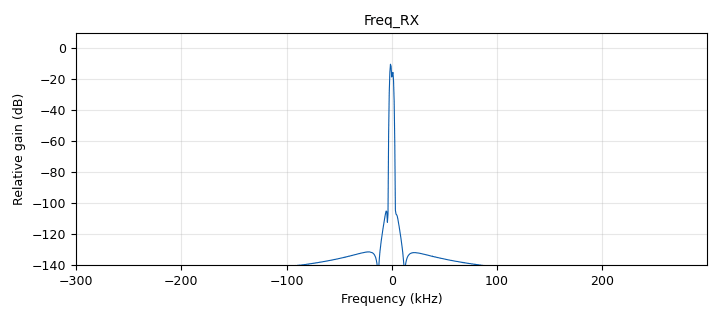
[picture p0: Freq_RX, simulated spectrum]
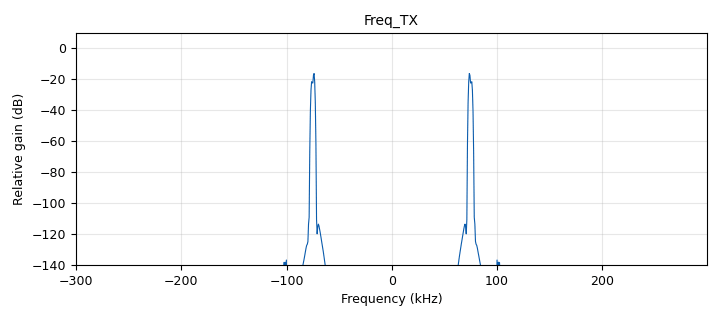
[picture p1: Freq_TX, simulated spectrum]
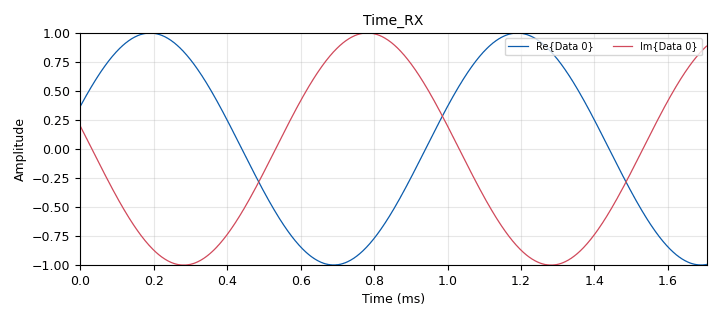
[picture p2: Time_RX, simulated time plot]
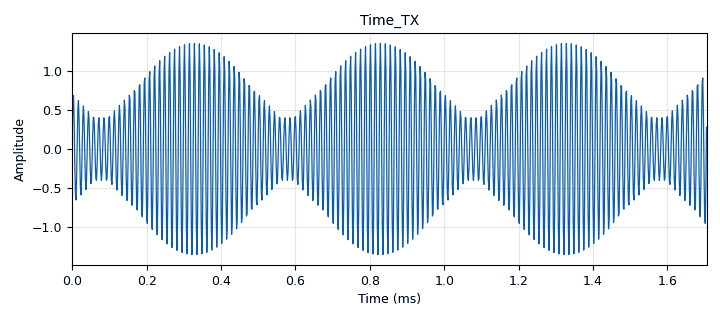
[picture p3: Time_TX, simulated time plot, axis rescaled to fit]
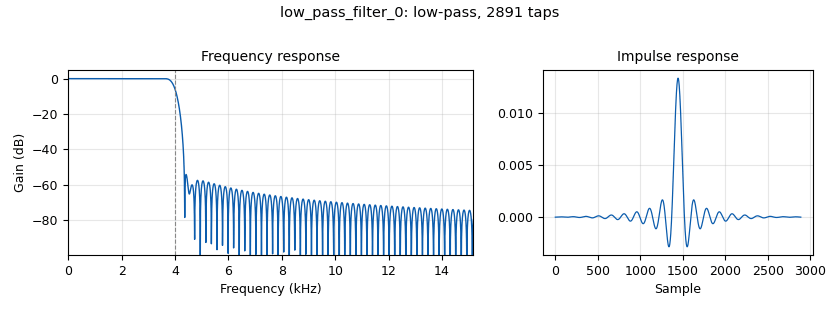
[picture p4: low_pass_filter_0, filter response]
<?xml version='1.0' encoding='utf-8'?>
<?grc format='1' created='3.7.9'?>
<flow_graph>
<block>
<key>options</key>
<param><key>id</key><value>top_block</value></param>
<param><key>category</key><value>Custom</value></param>
<param><key>generate_options</key><value>qt_gui</value></param>
</block>
<block>
<key>variable</key>
<param><key>id</key><value>fc</value></param>
<param><key>value</key><value>750000000</value></param>
</block>
<block>
<key>variable</key>
<param><key>id</key><value>fm</value></param>
<param><key>value</key><value>1000</value></param>
</block>
<block>
<key>variable</key>
<param><key>id</key><value>ft</value></param>
<param><key>value</key><value>75E3</value></param>
</block>
<block>
<key>variable_qtgui_range</key>
<param><key>id</key><value>gain</value></param>
<param><key>value</key><value>0</value></param>
<param><key>gui_hint</key><value>4,0,1,1</value></param>
<param><key>orient</key><value>Qt.Horizontal</value></param>
<param><key>start</key><value>0</value></param>
<param><key>step</key><value>1</value></param>
<param><key>stop</key><value>30</value></param>
</block>
<block>
<key>variable</key>
<param><key>id</key><value>samp_rate</value></param>
<param><key>value</key><value>600E3</value></param>
</block>
<block>
<key>qtgui_freq_sink_x</key>
<param><key>id</key><value>Freq_RX</value></param>
<param><key>bw</key><value>samp_rate</value></param>
<param><key>fc</key><value>0</value></param>
<param><key>fftsize</key><value>1024</value></param>
<param><key>gui_hint</key><value>2,0,1,1</value></param>
<param><key>showports</key><value>True</value></param>
<param><key>type</key><value>complex</value></param>
<param><key>wintype</key><value>firdes.WIN_BLACKMAN_hARRIS</value></param>
</block>
<block>
<key>qtgui_freq_sink_x</key>
<param><key>id</key><value>Freq_TX</value></param>
<param><key>bw</key><value>samp_rate</value></param>
<param><key>fc</key><value>0</value></param>
<param><key>fftsize</key><value>1024</value></param>
<param><key>gui_hint</key><value>0,0,1,1</value></param>
<param><key>showports</key><value>True</value></param>
<param><key>type</key><value>float</value></param>
<param><key>wintype</key><value>firdes.WIN_BLACKMAN_hARRIS</value></param>
</block>
<block>
<key>qtgui_time_sink_x</key>
<param><key>id</key><value>Time_RX</value></param>
<param><key>gui_hint</key><value>3,0,1,1</value></param>
<param><key>color1</key><value>"blue"</value></param>
<param><key>label1</key><value></value></param>
<param><key>color2</key><value>"red"</value></param>
<param><key>label2</key><value></value></param>
<param><key>size</key><value>1024</value></param>
<param><key>srate</key><value>samp_rate</value></param>
<param><key>type</key><value>complex</value></param>
</block>
<block>
<key>qtgui_time_sink_x</key>
<param><key>id</key><value>Time_TX</value></param>
<param><key>gui_hint</key><value>1,0,1,1</value></param>
<param><key>color1</key><value>"blue"</value></param>
<param><key>label1</key><value></value></param>
<param><key>size</key><value>1024</value></param>
<param><key>srate</key><value>samp_rate</value></param>
<param><key>type</key><value>float</value></param>
</block>
<block>
<key>analog_sig_source_x</key>
<param><key>id</key><value>analog_sig_source_x_0</value></param>
<param><key>amp</key><value>1</value></param>
<param><key>freq</key><value>-ft</value></param>
<param><key>offset</key><value>0</value></param>
<param><key>type</key><value>complex</value></param>
<param><key>samp_rate</key><value>samp_rate</value></param>
<param><key>waveform</key><value>analog.GR_COS_WAVE</value></param>
</block>
<block>
<key>analog_sig_source_x</key>
<param><key>id</key><value>analog_sig_source_x_0_0</value></param>
<param><key>amp</key><value>1</value></param>
<param><key>freq</key><value>fm</value></param>
<param><key>offset</key><value>0</value></param>
<param><key>type</key><value>float</value></param>
<param><key>samp_rate</key><value>samp_rate</value></param>
<param><key>waveform</key><value>analog.GR_COS_WAVE</value></param>
</block>
<block>
<key>analog_sig_source_x</key>
<param><key>id</key><value>analog_sig_source_x_1</value></param>
<param><key>amp</key><value>1</value></param>
<param><key>freq</key><value>ft</value></param>
<param><key>offset</key><value>0</value></param>
<param><key>type</key><value>complex</value></param>
<param><key>samp_rate</key><value>samp_rate</value></param>
<param><key>waveform</key><value>analog.GR_COS_WAVE</value></param>
</block>
<block>
<key>blocks_complex_to_real</key>
<param><key>id</key><value>blocks_complex_to_real_0</value></param>
</block>
<block>
<key>blocks_float_to_complex</key>
<param><key>id</key><value>blocks_float_to_complex_0</value></param>
</block>
<block>
<key>blocks_multiply_xx</key>
<param><key>id</key><value>blocks_multiply_xx_0</value></param>
<param><key>type</key><value>complex</value></param>
</block>
<block>
<key>blocks_multiply_xx</key>
<param><key>id</key><value>blocks_multiply_xx_0_0</value></param>
<param><key>type</key><value>complex</value></param>
</block>
<block>
<key>low_pass_filter</key>
<param><key>id</key><value>low_pass_filter_0</value></param>
<param><key>cutoff_freq</key><value>fm*4</value></param>
<param><key>decim</key><value>1</value></param>
<param><key>type</key><value>fir_filter_ccf</value></param>
<param><key>gain</key><value>1</value></param>
<param><key>samp_rate</key><value>samp_rate</value></param>
<param><key>width</key><value>fm/2</value></param>
<param><key>win</key><value>firdes.WIN_HAMMING</value></param>
</block>
<block>
<key>low_pass_filter</key>
<param><key>id</key><value>low_pass_filter_0_1</value></param>
<param><key>cutoff_freq</key><value>fm*4</value></param>
<param><key>decim</key><value>1</value></param>
<param><key>type</key><value>fir_filter_fff</value></param>
<param><key>gain</key><value>1</value></param>
<param><key>samp_rate</key><value>samp_rate</value></param>
<param><key>width</key><value>fm/2</value></param>
<param><key>win</key><value>firdes.WIN_HAMMING</value></param>
</block>
<block>
<key>uhd_usrp_sink</key>
<param><key>id</key><value>uhd_usrp_sink_0</value></param>
<param><key>ant0</key><value></value></param>
<param><key>center_freq0</key><value>0</value></param>
<param><key>norm_gain0</key><value>False</value></param>
<param><key>gain0</key><value>0</value></param>
<param><key>clock_rate</key><value>0.0</value></param>
<param><key>dev_args</key><value>""</value></param>
<param><key>_enabled</key><value>0</value></param>
<param><key>type</key><value>fc32</value></param>
<param><key>samp_rate</key><value>samp_rate</value></param>
<param><key>hide_cmd_port</key><value>False</value></param>
<param><key>sync</key><value></value></param>
<param><key>len_tag_name</key><value></value></param>
</block>
<block>
<key>uhd_usrp_source</key>
<param><key>id</key><value>uhd_usrp_source_0</value></param>
<param><key>ant0</key><value></value></param>
<param><key>center_freq0</key><value>0</value></param>
<param><key>dc_offs_enb0</key><value>""</value></param>
<param><key>iq_imbal_enb0</key><value>""</value></param>
<param><key>norm_gain0</key><value>False</value></param>
<param><key>gain0</key><value>0</value></param>
<param><key>clock_rate</key><value>0.0</value></param>
<param><key>dev_args</key><value>""</value></param>
<param><key>_enabled</key><value>0</value></param>
<param><key>type</key><value>fc32</value></param>
<param><key>samp_rate</key><value>samp_rate</value></param>
<param><key>hide_cmd_port</key><value>False</value></param>
<param><key>sync</key><value></value></param>
</block>
<connection><source_block_id>analog_sig_source_x_0</source_block_id><sink_block_id>blocks_multiply_xx_0</sink_block_id><source_key>0</source_key><sink_key>1</sink_key></connection>
<connection><source_block_id>analog_sig_source_x_0_0</source_block_id><sink_block_id>blocks_float_to_complex_0</sink_block_id><source_key>0</source_key><sink_key>1</sink_key></connection>
<connection><source_block_id>analog_sig_source_x_0_0</source_block_id><sink_block_id>low_pass_filter_0_1</sink_block_id><source_key>0</source_key><sink_key>0</sink_key></connection>
<connection><source_block_id>analog_sig_source_x_1</source_block_id><sink_block_id>blocks_multiply_xx_0_0</sink_block_id><source_key>0</source_key><sink_key>1</sink_key></connection>
<connection><source_block_id>blocks_complex_to_real_0</source_block_id><sink_block_id>Freq_TX</sink_block_id><source_key>0</source_key><sink_key>0</sink_key></connection>
<connection><source_block_id>blocks_complex_to_real_0</source_block_id><sink_block_id>Time_TX</sink_block_id><source_key>0</source_key><sink_key>0</sink_key></connection>
<connection><source_block_id>blocks_float_to_complex_0</source_block_id><sink_block_id>blocks_multiply_xx_0_0</sink_block_id><source_key>0</source_key><sink_key>0</sink_key></connection>
<connection><source_block_id>blocks_multiply_xx_0</source_block_id><sink_block_id>low_pass_filter_0</sink_block_id><source_key>0</source_key><sink_key>0</sink_key></connection>
<connection><source_block_id>blocks_multiply_xx_0_0</source_block_id><sink_block_id>blocks_complex_to_real_0</sink_block_id><source_key>0</source_key><sink_key>0</sink_key></connection>
<connection><source_block_id>blocks_multiply_xx_0_0</source_block_id><sink_block_id>blocks_multiply_xx_0</sink_block_id><source_key>0</source_key><sink_key>0</sink_key></connection>
<connection><source_block_id>blocks_multiply_xx_0_0</source_block_id><sink_block_id>uhd_usrp_sink_0</sink_block_id><source_key>0</source_key><sink_key>0</sink_key></connection>
<connection><source_block_id>low_pass_filter_0</source_block_id><sink_block_id>Freq_RX</sink_block_id><source_key>0</source_key><sink_key>0</sink_key></connection>
<connection><source_block_id>low_pass_filter_0</source_block_id><sink_block_id>Time_RX</sink_block_id><source_key>0</source_key><sink_key>0</sink_key></connection>
<connection><source_block_id>low_pass_filter_0_1</source_block_id><sink_block_id>blocks_float_to_complex_0</sink_block_id><source_key>0</source_key><sink_key>0</sink_key></connection>
<connection><source_block_id>uhd_usrp_source_0</source_block_id><sink_block_id>blocks_multiply_xx_0</sink_block_id><source_key>0</source_key><sink_key>0</sink_key></connection>
</flow_graph>
